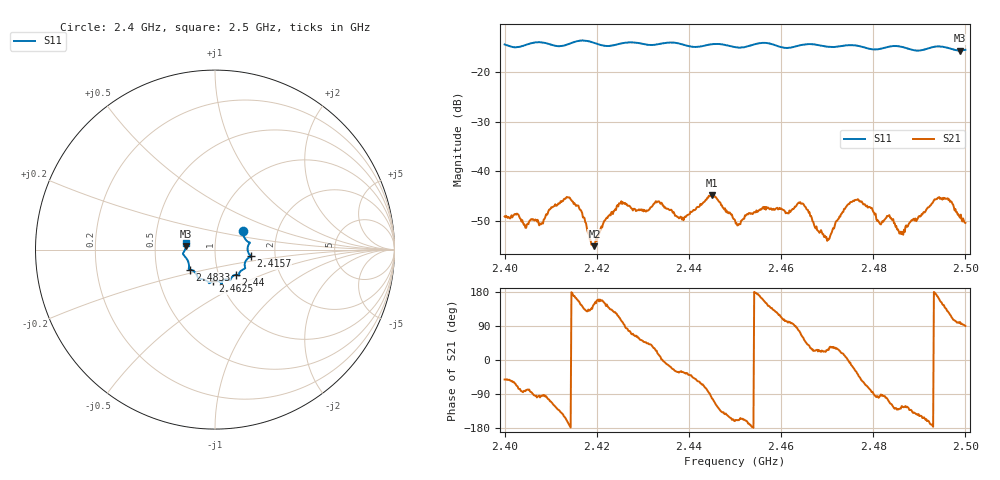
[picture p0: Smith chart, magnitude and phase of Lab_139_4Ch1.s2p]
# Hz S RI R 50
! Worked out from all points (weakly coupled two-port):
!   601 points, 2.4 GHz to 2.5 GHz, reference 50 ohm
!   highest |S21| = -44.82 dB at 2.445 GHz (marker M1); lowest = -55.1 dB at 2.4195 GHz (marker M2)
!   lowest |S11| = -15.7 dB at 2.4988 GHz (marker M3), VSWR 1.39, Z = 36 + j1.36 ohm
!   |S11| at or under -10 dB: start of sweep to end of sweep
!   S12 and S22 are empty: the file has one direction only
!   S11 on the Smith chart (normalised r, x): 2.4 GHz: 1.33, +0.29; 2.4157 GHz: 1.49, -0.12; 2.44 GHz: 1.20, -0.35; 2.4625 GHz: 0.92, -0.34; 2.4833 GHz: 0.74, -0.17; 2.5 GHz: 0.72, +0.06
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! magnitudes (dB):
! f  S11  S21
! 2.4 GHz  -14.5  -49.1
! 2.4078 GHz  -14.1  -50.7
! 2.4133 GHz  -14.6  -45.4
! 2.4157 GHz  -13.8  -46.9
! 2.4167 GHz  -13.7  -48.1
! 2.4195 GHz  -14.2  -55.1
! 2.4248 GHz  -14.4  -46.5
! 2.4333 GHz  -14.4  -46.1
! 2.44 GHz  -14.8  -48.7
! 2.445 GHz  -14.4  -44.8
! 2.45 GHz  -15.0  -49.9
! 2.4625 GHz  -15.0  -47.6
! 2.4645 GHz  -14.6  -46.5
! 2.4667 GHz  -14.4  -49.4
! 2.4702 GHz  -15.0  -53.7
! 2.4762 GHz  -14.7  -45.8
! 2.4813 GHz  -15.4  -50.4
! 2.4833 GHz  -15.0  -49.0
! 2.4863 GHz  -15.0  -52.3
! 2.4943 GHz  -14.9  -45.2
! 2.4988 GHz  -15.7  -49.4
! 2.5 GHz  -15.6  -50.4
